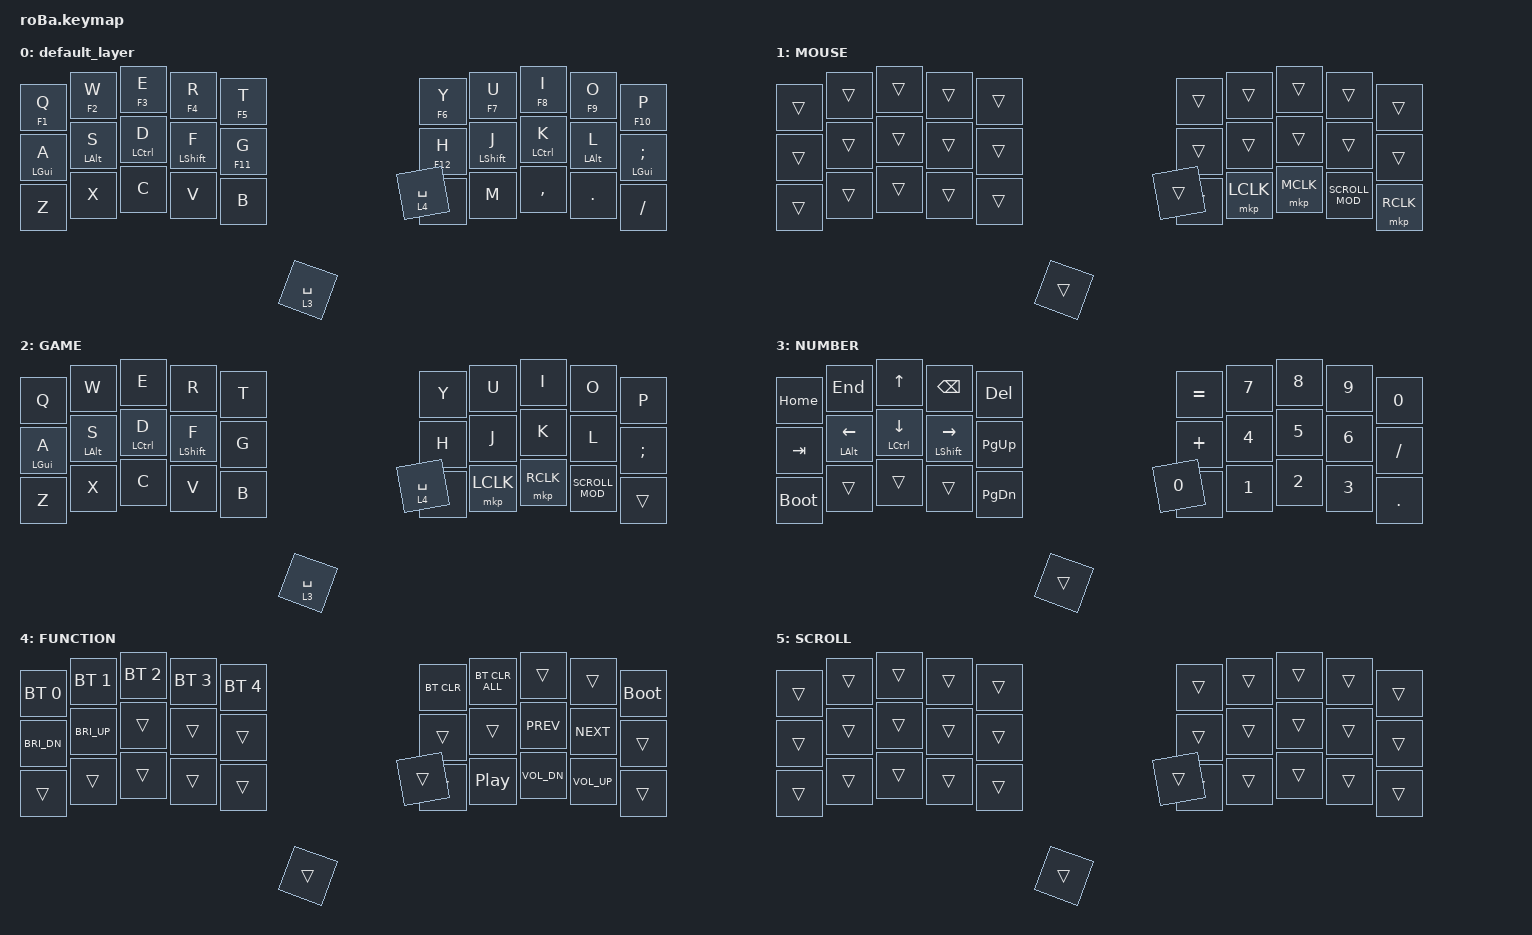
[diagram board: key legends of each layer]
#include <dt-bindings/zmk/input_transform.h>
#include <zephyr/dt-bindings/input/input-event-codes.h>
#include <input/processors.dtsi>
#include <behaviors.dtsi>
#include <dt-bindings/zmk/bt.h>
#include <dt-bindings/zmk/keys.h>
#include <dt-bindings/zmk/pointing.h>

#define SCROLL_MOD mo 5

/ {
    zip_temp_layer: zip_temp_layer {
        compatible = "zmk,input-processor-temp-layer";
        #input-processor-cells = <2>;
        require-prior-idle-ms = <500>;
        excluded-positions = <26 27 28 29>;
    };

    trackball_listener {
        input-processors = <&zip_temp_layer 1 3000>;

        scroller {
            layers = <5>;
            input-processors = <
                   &zip_xy_to_scroll_mapper
                   &zip_scroll_transform INPUT_TRANSFORM_Y_INVERT
                   &zip_scroll_scaler 1 12
            >;

            process-next;
        };

        gaming {
            layers = <2>;
            input-processors = <&zip_xy_scaler 2 1>;
            process-next;
        };
    };

    behaviors {
        hm: homerow_mods {
            compatible = "zmk,behavior-hold-tap";
            #binding-cells = <2>;
            tapping-term-ms = <200>;
            quick-tap-ms = <200>;
            require-prior-idle-ms = <100>;
            flavor = "tap-preferred";
            bindings = <&kp>, <&kp>;
        };

        ht: positional_hold_tap {
            compatible = "zmk,behavior-hold-tap";
            #binding-cells = <2>;
            tapping-term-ms = <200>;
            quick-tap-ms = <200>;
            require-prior-idle-ms = <100>;
            flavor = "tap-preferred";
            bindings = <&kp>, <&kp>;
        };
    };
};

/ {
    macros {
        par: par {
            compatible = "zmk,behavior-macro";
            #binding-cells = <0>;
            bindings =
                <&macro_tap_time 10>,
                <&macro_tap>,
                <&kp RPAR &kp LEFT &kp LPAR>;
        };
        bkt: bkt {
            compatible = "zmk,behavior-macro";
            #binding-cells = <0>;
            bindings =
                <&macro_tap_time 10>,
                <&macro_tap>,
                <&kp RBKT &kp LEFT &kp LBKT>;
        };
    };
};

/ {
    combos {
        compatible = "zmk,combos";
        combo_esc { timeout-ms = <50>; key-positions = <0 1>; bindings = <&kp ESC>; };
        combo_grave { timeout-ms = <50>; key-positions = <1 2>; bindings = <&kp GRAVE>; };
        combo_enter { timeout-ms = <50>; key-positions = <17 18>; bindings = <&kp ENTER>; };
        combo_cut { timeout-ms = <50>; key-positions = <20 21>; bindings = <&kp LC(X)>; };
        combo_copy { timeout-ms = <50>; key-positions = <21 22>; bindings = <&kp LC(C)>; };
        combo_paste { timeout-ms = <50>; key-positions = <22 23>; bindings = <&kp LC(V)>; };
        combo_lang { timeout-ms = <50>; key-positions = <27 28>; bindings = <&kp RALT>; };
        combo_capslock { timeout-ms = <50>; key-positions = <28 29>; bindings = <&kp CAPS>; };
        combo_sqt { timeout-ms = <50>; key-positions = <18 19>; bindings = <&kp SQT>; };
        combo_left_bkt { timeout-ms = <50>; key-positions = <2 3>; bindings = <&kp LEFT_BRACKET>; };
        combo_right_bkt { timeout-ms = <50>; key-positions = <6 7>; bindings = <&kp RIGHT_BRACKET>; };
        combo_bac { timeout-ms = <50>; key-positions = <4 5>; bindings = <&kp BACKSLASH>; };
        combo_mouse4 { timeout-ms = <50>; key-positions = <26 17>; bindings = <&mkp MB4>; };
        combo_mouse5 { timeout-ms = <50>; key-positions = <28 17>; bindings = <&mkp MB5>; };
        combo_b { timeout-ms = <50>; key-positions = <25 26>; bindings = <&kp B>; };
        combo_m { timeout-ms = <50>; key-positions = <26 27>; bindings = <&kp M>; };
        combo_q { timeout-ms = <50>; key-positions = <0 30>; bindings = <&kp LS(Q)>; };
        combo_w { timeout-ms = <50>; key-positions = <1 30>; bindings = <&kp LS(W)>; };
        combo_e { timeout-ms = <50>; key-positions = <2 30>; bindings = <&kp LS(E)>; };
        combo_r { timeout-ms = <50>; key-positions = <3 30>; bindings = <&kp LS(R)>; };
        combo_t { timeout-ms = <50>; key-positions = <4 30>; bindings = <&kp LS(T)>; };
        combo_o { timeout-ms = <50>; key-positions = <7 8>; bindings = <&kp LS(O)>; };
        combo_p { timeout-ms = <50>; key-positions = <8 9>; bindings = <&kp LS(P)>; };
    };

    keymap {
        compatible = "zmk,keymap";

        default_layer {
            bindings = <
            &ht F1 Q    &ht F2 W    &ht F3 E     &ht F4 R     &ht F5 T             &ht F6 Y     &ht F7 U     &ht F8 I     &ht F9 O    &ht F10 P
            &hm LGUI A  &hm LALT S  &hm LCTRL D  &hm LSHFT F  &ht F11 G            &ht F12 H    &hm LSHFT J  &hm LCTRL K  &hm LALT L  &hm LGUI SEMI
            &kp Z       &kp X       &kp C        &kp V        &kp B                &kp N        &kp M        &kp COMMA    &kp DOT     &kp FSLH
                                                  &lt 3 SPACE          &lt 4 SPACE
            >;
        };

        MOUSE {
            bindings = <
            &trans  &trans  &trans  &trans  &trans          &trans  &trans     &trans            &trans     &trans
            &trans  &trans  &trans  &trans  &trans          &trans  &trans     &trans            &trans     &trans
            &trans  &trans  &trans  &trans  &trans          &trans  &mkp LCLK  &mkp MCLK         &SCROLL_MOD    &mkp RCLK
                                  &trans          &trans
            >;
        };

        GAME {
            bindings = <
            &kp Q         &kp W         &kp E         &kp R         &kp T                 &kp Y       &kp U       &kp I       &kp O        &kp P
           &hm LGUI A  &hm LALT S  &hm LCTRL D  &hm LSHFT F        &kp G                 &kp H       &kp J       &kp K       &kp L        &kp SEMI
           &kp Z       &kp X       &kp C        &kp V        &kp B              &kp N       &mkp LCLK   &mkp RCLK   &SCROLL_MOD        &trans
                                                &lt 3 SPACE           &lt 4 SPACE
            >;
        };

        NUMBER { 
            bindings = <
            &kp HOME  &kp END        &kp UP          &kp BSPC         &kp DEL            &kp EQUAL   &kp N7  &kp N8  &kp N9  &kp N0
            &kp TAB   &hm LALT LEFT  &hm LCTRL DOWN  &hm LSHFT RIGHT  &kp PG_UP           &kp PLUS   &kp N4  &kp N5  &kp N6  &kp FSLH
              &bootloader  &trans    &trans             &trans          &kp PG_DN         &kp MINUS  &kp N1  &kp N2  &kp N3  &kp DOT
                                                            &trans             &kp N0
            >;
        };

        FUNCTION {
            bindings = <
            &bt BT_SEL 0  &bt BT_SEL 1  &bt BT_SEL 2  &bt BT_SEL 3  &bt BT_SEL 4          &bt BT_CLR  &bt BT_CLR_ALL  &trans          &trans    &bootloader
            &kp C_BRI_DN  &kp C_BRI_UP    &trans    &trans         &trans                &trans      &trans         &kp C_PREV    &kp C_NEXT       &trans
            &trans        &trans        &trans        &trans        &trans               &trans    &kp C_PP &kp C_VOL_DN &kp C_VOL_UP          &trans   
                                  &trans          &trans
            >;
        };

        SCROLL {
            bindings = <
            &trans  &trans  &trans  &trans  &trans          &trans  &trans  &trans  &trans  &trans
            &trans  &trans  &trans  &trans  &trans          &trans  &trans  &trans  &trans  &trans
            &trans  &trans  &trans  &trans  &trans          &trans  &trans  &trans  &trans  &trans
                                    &trans          &trans
            >;
        };
    };
};
